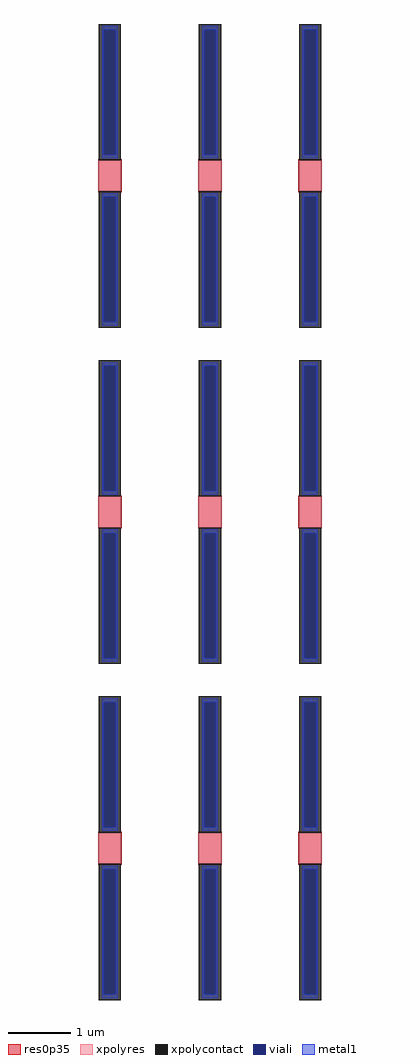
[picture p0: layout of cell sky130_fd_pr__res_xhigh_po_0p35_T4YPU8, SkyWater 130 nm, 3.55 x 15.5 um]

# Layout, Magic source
magic
tech sky130A
magscale 1 2
<< xpolycontact >>
rect -353 1118 -283 1550
rect -353 586 -283 1018
rect -35 1118 35 1550
rect -35 586 35 1018
rect 283 1118 353 1550
rect 283 586 353 1018
rect -353 50 -283 482
rect -353 -482 -283 -50
rect -35 50 35 482
rect -35 -482 35 -50
rect 283 50 353 482
rect 283 -482 353 -50
rect -353 -1018 -283 -586
rect -353 -1550 -283 -1118
rect -35 -1018 35 -586
rect -35 -1550 35 -1118
rect 283 -1018 353 -586
rect 283 -1550 353 -1118
<< xpolyres >>
rect -353 1018 -283 1118
rect -35 1018 35 1118
rect 283 1018 353 1118
rect -353 -50 -283 50
rect -35 -50 35 50
rect 283 -50 353 50
rect -353 -1118 -283 -1018
rect -35 -1118 35 -1018
rect 283 -1118 353 -1018
<< viali >>
rect -337 1135 -299 1532
rect -19 1135 19 1532
rect 299 1135 337 1532
rect -337 604 -299 1001
rect -19 604 19 1001
rect 299 604 337 1001
rect -337 67 -299 464
rect -19 67 19 464
rect 299 67 337 464
rect -337 -464 -299 -67
rect -19 -464 19 -67
rect 299 -464 337 -67
rect -337 -1001 -299 -604
rect -19 -1001 19 -604
rect 299 -1001 337 -604
rect -337 -1532 -299 -1135
rect -19 -1532 19 -1135
rect 299 -1532 337 -1135
<< metal1 >>
rect -343 1532 -293 1544
rect -343 1135 -337 1532
rect -299 1135 -293 1532
rect -343 1123 -293 1135
rect -25 1532 25 1544
rect -25 1135 -19 1532
rect 19 1135 25 1532
rect -25 1123 25 1135
rect 293 1532 343 1544
rect 293 1135 299 1532
rect 337 1135 343 1532
rect 293 1123 343 1135
rect -343 1001 -293 1013
rect -343 604 -337 1001
rect -299 604 -293 1001
rect -343 592 -293 604
rect -25 1001 25 1013
rect -25 604 -19 1001
rect 19 604 25 1001
rect -25 592 25 604
rect 293 1001 343 1013
rect 293 604 299 1001
rect 337 604 343 1001
rect 293 592 343 604
rect -343 464 -293 476
rect -343 67 -337 464
rect -299 67 -293 464
rect -343 55 -293 67
rect -25 464 25 476
rect -25 67 -19 464
rect 19 67 25 464
rect -25 55 25 67
rect 293 464 343 476
rect 293 67 299 464
rect 337 67 343 464
rect 293 55 343 67
rect -343 -67 -293 -55
rect -343 -464 -337 -67
rect -299 -464 -293 -67
rect -343 -476 -293 -464
rect -25 -67 25 -55
rect -25 -464 -19 -67
rect 19 -464 25 -67
rect -25 -476 25 -464
rect 293 -67 343 -55
rect 293 -464 299 -67
rect 337 -464 343 -67
rect 293 -476 343 -464
rect -343 -604 -293 -592
rect -343 -1001 -337 -604
rect -299 -1001 -293 -604
rect -343 -1013 -293 -1001
rect -25 -604 25 -592
rect -25 -1001 -19 -604
rect 19 -1001 25 -604
rect -25 -1013 25 -1001
rect 293 -604 343 -592
rect 293 -1001 299 -604
rect 337 -1001 343 -604
rect 293 -1013 343 -1001
rect -343 -1135 -293 -1123
rect -343 -1532 -337 -1135
rect -299 -1532 -293 -1135
rect -343 -1544 -293 -1532
rect -25 -1135 25 -1123
rect -25 -1532 -19 -1135
rect 19 -1532 25 -1135
rect -25 -1544 25 -1532
rect 293 -1135 343 -1123
rect 293 -1532 299 -1135
rect 337 -1532 343 -1135
rect 293 -1544 343 -1532
<< res0p35 >>
rect -355 1016 -281 1120
rect -37 1016 37 1120
rect 281 1016 355 1120
rect -355 -52 -281 52
rect -37 -52 37 52
rect 281 -52 355 52
rect -355 -1120 -281 -1016
rect -37 -1120 37 -1016
rect 281 -1120 355 -1016
<< properties >>
string gencell sky130_fd_pr__res_xhigh_po_0p35
string library sky130
string parameters w 0.350 l 0.5 m 3 nx 3 wmin 0.350 lmin 0.50 rho 2000 val 3.932k dummy 0 dw 0.0 term 188.2 sterm 0.0 caplen 0 wmax 0.350 guard 0 glc 0 grc 0 gtc 0 gbc 0 compatible {sky130_fd_pr__res_xhigh_po_0p35  sky130_fd_pr__res_xhigh_po_0p69 sky130_fd_pr__res_xhigh_po_1p41  sky130_fd_pr__res_xhigh_po_2p85 sky130_fd_pr__res_xhigh_po_5p73} full_metal 0 n_guard 0 hv_guard 0 vias 1 viagb 0 viagt 0 viagl 0 viagr 0
<< end >>
